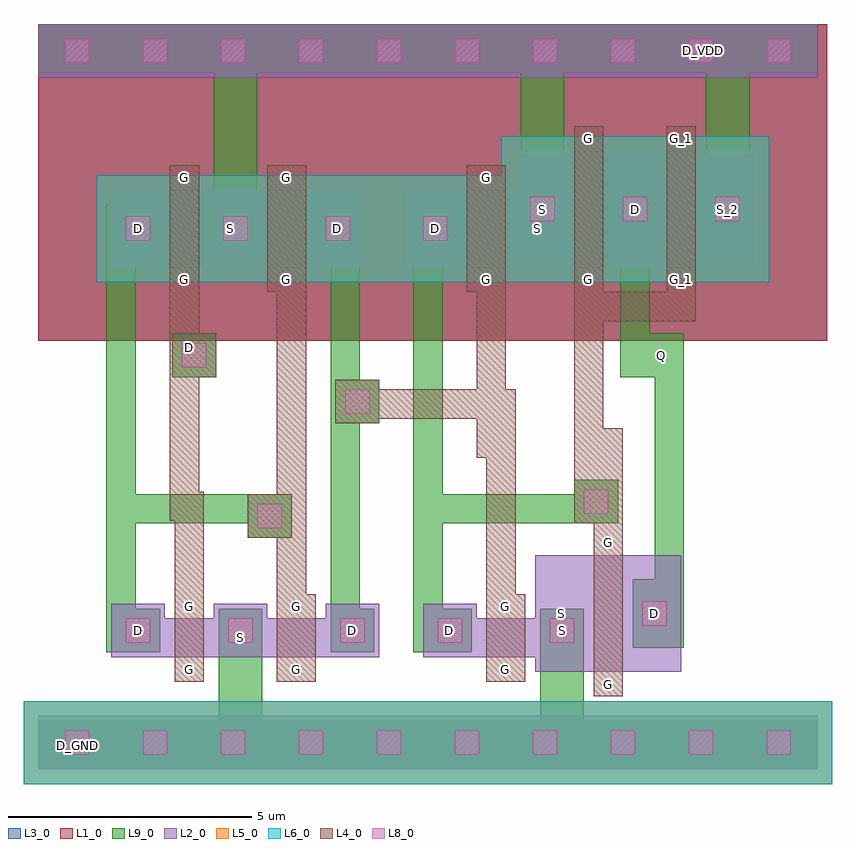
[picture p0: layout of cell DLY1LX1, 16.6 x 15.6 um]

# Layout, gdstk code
import gdstk
lib = gdstk.Library(unit=1e-6, precision=1e-09)
def R(c, l, rs):  # rectangles x0, y0, x1, y1
    for r in rs: c.add(gdstk.rectangle(r[:2], r[2:], *l))
def A(c, l, x, y, w, h, nx, ny, dx, dy):  # array of equal rectangles
    R(c, l, [(x+i*dx, y+j*dy, x+i*dx+w, y+j*dy+h) for i in range(nx) for j in range(ny)])
def P(c, l, *ps):  # polygons
    for p in ps: c.add(gdstk.Polygon(p, *l))
L1_0 = (1, 0)
L2_0 = (2, 0)
L3_0 = (3, 0)
L4_0 = (4, 0)
L5_0 = (5, 0)
L6_0 = (6, 0)
L8_0 = (8, 0)
L9_0 = (9, 0)

dly1lx1 = lib.new_cell('DLY1LX1')
R(dly1lx1, L1_0, [(0,8.8,6,13.4), (0,8.8,14.4,15.3), (2,8.8,8.2,13.4), (6.1,8.8,12.3,13.4), (8.3,8.8,16.2,14.2), (14.4,13.5,16.2,15.3)])
A(dly1lx1, L2_0, 9.8, 10.3, 1.1, 2.4, 3, 1, 1.9, 0)
R(dly1lx1, L2_0, [(0,0,16,1.1), (10.2,2,11.3,4.4), (11.3,2,12.1,4.4), (12.1,2,13.2,4.4), (1.5,2.3,2.6,3.4), (2.6,2.3,3.6,3.1), (3.6,2.3,4.7,3.1), (3.6,2.3,4.7,3.4), (4.7,2.3,5.9,3.1), (5.9,2.3,7,3.4), (7.9,2.3,9,3.4), (9,2.3,10.2,3.1), (10.2,2.3,11.3,3.4), (1.5,10.3,2.6,11.9), (2.6,10.3,3.4,11.9), (3.4,10.3,4.5,11.9), (3.5,10.3,4.6,11.9), (4.6,10.3,5.6,11.9), (5.6,10.3,6.7,11.9), (7.6,10.3,8.7,11.9), (8.7,10.3,9.7,11.9), (9.7,10.3,10.8,11.9), (10.9,10.3,11.7,12.7), (12.8,10.3,13.6,12.7), (0,14.2,16,15.3)])
R(dly1lx1, L3_0, [(0,8.8,6,13.4), (0,8.8,14.4,15.3), (2,8.8,8.2,13.4), (6.1,8.8,12.3,13.4), (8.3,8.8,16.2,14.2), (14.35,13.6,16,15.3), (14.35,13.6,16.2,15.3)])
R(dly1lx1, L4_0, [(11.4,1.5,12,2), (11.4,1.5,12,4.9), (2.8,1.8,3.4,3.6), (2.8,1.8,3.4,2.3), (4.9,1.8,5.7,2.3), (4.9,1.8,5.7,3.6), (9.2,1.8,10,2.3), (9.2,1.8,10,3.6), (2.8,3.1,3.4,3.6), (4.9,3.1,5.7,3.6), (9.2,3.1,10,3.6), (9.2,3.2,9.8,7.8), (4.9,3.35,5.5,9.9), (11.4,4.4,12,4.9), (4.3,4.75,5.2,5.65), (11,5.05,11.9,5.95), (11,5.8,11.7,6.4), (9,6.4,9.6,10.6), (6.1,7.1,7,8), (6.3,7.2,9.8,7.8), (2.75,8.05,3.65,8.95), (11,9.2,13.5,9.8), (2.7,9.8,3.3,10.3), (2.7,9.8,3.3,12.4), (4.7,9.8,5.5,12.4), (4.7,9.8,5.5,10.3), (8.8,9.8,9.6,12.4), (8.8,9.8,9.6,10.3), (11,9.8,11.6,10.3), (11,9.8,11.6,13.2), (12.9,9.8,13.5,10.3), (12.9,9.8,13.5,13.2), (2.7,11.9,3.3,12.4), (4.7,11.9,5.5,12.4), (8.8,11.9,9.6,12.4), (11,12.7,11.6,13.2), (12.9,12.7,13.5,13.2)])
P(dly1lx1, L4_0, [(2.7,5.1),(2.8,5.1),(2.8,3.1),(3.4,3.1),(3.4,5.7),(3.3,5.7),(3.3,10.4),(2.7,10.4)],
  [(11,6.4),(11.4,6.4),(11.4,4.4),(12,4.4),(12,7),(11.6,7),(11.6,10.1),(11,10.1)])
R(dly1lx1, L5_0, [(-0.3,-0.3,16.3,1.4), (1.2,10,4.8,12.2), (3.2,10,7,12.2), (6.8,10,7.5,12.2), (7.3,10,11.1,12.2), (9.5,10,15,13)])
R(dly1lx1, L6_0, [(-0.3,-0.3,16.3,1.4), (1.2,10,4.8,12.2), (3.2,10,7,12.2), (6.8,10,7.35,12.2), (7.3,10,11.1,12.2), (9.5,10,15,13)])
A(dly1lx1, L8_0, 0.55, 0.3, 0.5, 0.5, 10, 2, 1.6, 14.2)
A(dly1lx1, L8_0, 10.1, 11.25, 0.5, 0.5, 3, 1, 1.9, 0)
R(dly1lx1, L8_0, [(1.8,2.6,2.3,3.1), (3.9,2.6,4.4,3.1), (6.2,2.6,6.7,3.1), (8.2,2.6,8.7,3.1), (10.5,2.6,11,3.1), (12.4,2.95,12.9,3.45), (4.5,4.95,5,5.45), (11.2,5.25,11.7,5.75), (6.3,7.3,6.8,7.8), (2.95,8.25,3.45,8.75), (1.8,10.85,2.3,11.35), (3.8,10.85,4.3,11.35), (5.9,10.85,6.4,11.35), (7.9,10.85,8.4,11.35)])
A(dly1lx1, L9_0, 9.9, 10.8, 0.9, 1.4, 3, 1, 1.9, 0)
R(dly1lx1, L9_0, [(0,0,16,1), (0.5,0.3,1.1,0.9), (1.4,2.4,2,11.6), (1.6,2.4,2.5,3.3), (3.7,2.4,4.6,3.3), (6,2.4,6.9,3.3), (8,2.4,8.9,3.3), (10.3,2.4,11.2,3.3), (12.2,2.5,13.1,3.9), (12.65,2.5,13.25,8.7), (6,2.55,6.6,10.85), (4.3,4.75,5.2,5.65), (1.4,5.05,5.2,5.65), (7.7,5.05,11.7,5.65), (11,5.05,11.9,5.95), (6.1,7.1,7,8), (2.75,8.05,3.65,8.95), (11.95,8.05,12.55,11.8), (12.35,8.05,13.25,8.95), (2.8,8.35,3.4,8.95), (1.6,10.6,2.5,11.6), (3.6,10.6,4.5,11.6), (3.6,10.6,4.5,14.5), (5.7,10.6,6.6,11.6), (7.7,10.6,8.6,11.6), (9.9,10.75,10.8,14.65), (13.7,10.95,14.6,14.85), (0,14.3,16,15.3), (13.35,14.45,13.95,15.05)])
P(dly1lx1, L9_0, [(7.7,2.4),(8.4,2.4),(8.4,3),(8.3,3),(8.3,11.55),(7.7,11.55)],
  [(3.7,0.1),(11.2,0.1),(11.2,3.1),(10.3,3.1),(10.3,1),(4.6,1),(4.6,3.1),(3.7,3.1)])
dly1lx1.add(gdstk.Label('G', (3.1,2.052), layer=4, texttype=0))
dly1lx1.add(gdstk.Label('G', (3.1,3.352), layer=4, texttype=0))
dly1lx1.add(gdstk.Label('S', (4.151,2.701), layer=2, texttype=0))
dly1lx1.add(gdstk.Label('D', (2.051,2.851), layer=9, texttype=0))
dly1lx1.add(gdstk.Label('G', (9.2,10.052), layer=4, texttype=0))
dly1lx1.add(gdstk.Label('G', (9.2,12.152), layer=4, texttype=0))
dly1lx1.add(gdstk.Label('S', (10.251,11.101), layer=2, texttype=0))
dly1lx1.add(gdstk.Label('D', (8.151,11.101), layer=9, texttype=0))
dly1lx1.add(gdstk.Label('G', (11.7,1.752), layer=4, texttype=0))
dly1lx1.add(gdstk.Label('G', (11.7,4.652), layer=4, texttype=0))
dly1lx1.add(gdstk.Label('S', (10.749,3.201), layer=2, texttype=0))
dly1lx1.add(gdstk.Label('D', (12.649,3.201), layer=9, texttype=0))
dly1lx1.add(gdstk.Label('G', (3,10.052), layer=4, texttype=0))
dly1lx1.add(gdstk.Label('G', (3,12.152), layer=4, texttype=0))
dly1lx1.add(gdstk.Label('S', (3.951,11.101), layer=2, texttype=0))
dly1lx1.add(gdstk.Label('D', (2.051,11.101), layer=9, texttype=0))
dly1lx1.add(gdstk.Label('G', (5.1,10.052), layer=4, texttype=0))
dly1lx1.add(gdstk.Label('G', (5.1,12.152), layer=4, texttype=0))
dly1lx1.add(gdstk.Label('S', (4.049,11.101), layer=9, texttype=0))
dly1lx1.add(gdstk.Label('D', (6.149,11.101), layer=9, texttype=0))
dly1lx1.add(gdstk.Label('G', (9.6,2.052), layer=4, texttype=0))
dly1lx1.add(gdstk.Label('G', (9.6,3.352), layer=4, texttype=0))
dly1lx1.add(gdstk.Label('S', (10.751,2.851), layer=9, texttype=0))
dly1lx1.add(gdstk.Label('D', (8.451,2.851), layer=9, texttype=0))
dly1lx1.add(gdstk.Label('G', (5.3,2.052), layer=4, texttype=0))
dly1lx1.add(gdstk.Label('G', (5.3,3.352), layer=4, texttype=0))
dly1lx1.add(gdstk.Label('S', (4.149,2.851), layer=9, texttype=0))
dly1lx1.add(gdstk.Label('D', (6.449,2.851), layer=9, texttype=0))
dly1lx1.add(gdstk.Label('G', (11.3,10.052), layer=4, texttype=0))
dly1lx1.add(gdstk.Label('G', (11.3,12.952), layer=4, texttype=0))
dly1lx1.add(gdstk.Label('G_1', (13.2,10.052), layer=4, texttype=0))
dly1lx1.add(gdstk.Label('G_1', (13.2,12.952), layer=4, texttype=0))
dly1lx1.add(gdstk.Label('S', (10.349,11.501), layer=9, texttype=0))
dly1lx1.add(gdstk.Label('D', (12.249,11.501), layer=9, texttype=0))
dly1lx1.add(gdstk.Label('S_2', (14.149,11.5), layer=9, texttype=0))
dly1lx1.add(gdstk.Label('D_VDD', (13.65,14.75), layer=50, texttype=0))
dly1lx1.add(gdstk.Label('D_GND', (0.8,0.5), layer=50, texttype=0))
dly1lx1.add(gdstk.Label('D', (3.1,8.65), layer=50, texttype=0))
dly1lx1.add(gdstk.Label('Q', (12.8,8.5), layer=50, texttype=0))

lib.write_gds('DLY1LX1.gds')
